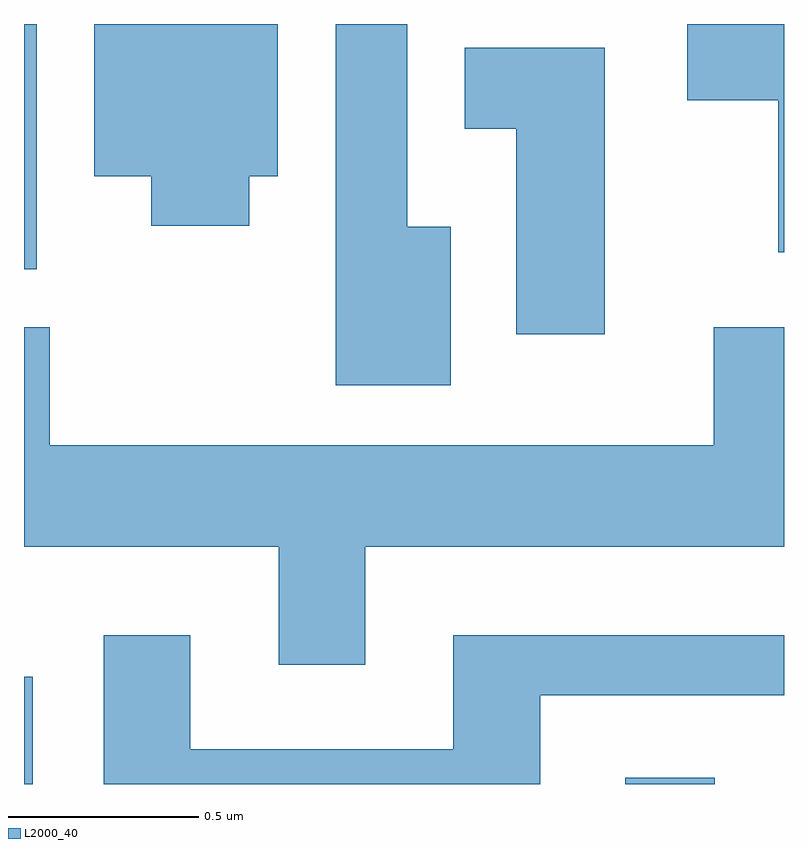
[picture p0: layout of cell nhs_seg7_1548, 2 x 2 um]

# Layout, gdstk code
import gdstk
lib = gdstk.Library(unit=1e-6, precision=1e-09)
def R(c, l, rs):  # rectangles x0, y0, x1, y1
    for r in rs: c.add(gdstk.rectangle(r[:2], r[2:], *l))
def P(c, l, *ps):  # polygons
    for p in ps: c.add(gdstk.Polygon(p, *l))
L2000_40 = (2000, 40)

nhs_seg7_1548 = lib.new_cell('nhs_seg7_1548')
R(nhs_seg7_1548, L2000_40, [(196.611,1709.252,196.634,1709.534), (198.193,1709.252,198.429,1709.269), (196.611,1710.606,196.644,1711.252)])
P(nhs_seg7_1548, L2000_40, [(197.204,1710.851),(197.279,1710.851),(197.279,1711.252),(196.796,1711.252),(196.796,1710.851),(196.946,1710.851),(196.946,1710.721),(197.204,1710.721)],
  [(197.734,1710.719),(197.619,1710.719),(197.619,1711.252),(197.431,1711.252),(197.431,1710.301),(197.734,1710.301)],
  [(198.611,1711.252),(198.356,1711.252),(198.356,1711.051),(198.596,1711.051),(198.596,1710.651),(198.611,1710.651)],
  [(198.139,1711.189),(197.771,1711.189),(197.771,1710.976),(197.906,1710.976),(197.906,1710.436),(198.139,1710.436)],
  [(197.509,1709.876),(198.611,1709.876),(198.611,1710.454),(198.426,1710.454),(198.426,1710.144),(196.679,1710.144),(196.679,1710.454),(196.611,1710.454),(196.611,1709.876),(197.281,1709.876),(197.281,1709.566),(197.509,1709.566)],
  [(197.969,1709.486),(198.611,1709.486),(198.611,1709.644),(197.741,1709.644),(197.741,1709.344),(197.049,1709.344),(197.049,1709.644),(196.821,1709.644),(196.821,1709.252),(197.969,1709.252)])

lib.write_gds('nhs_seg7_1548.gds')
